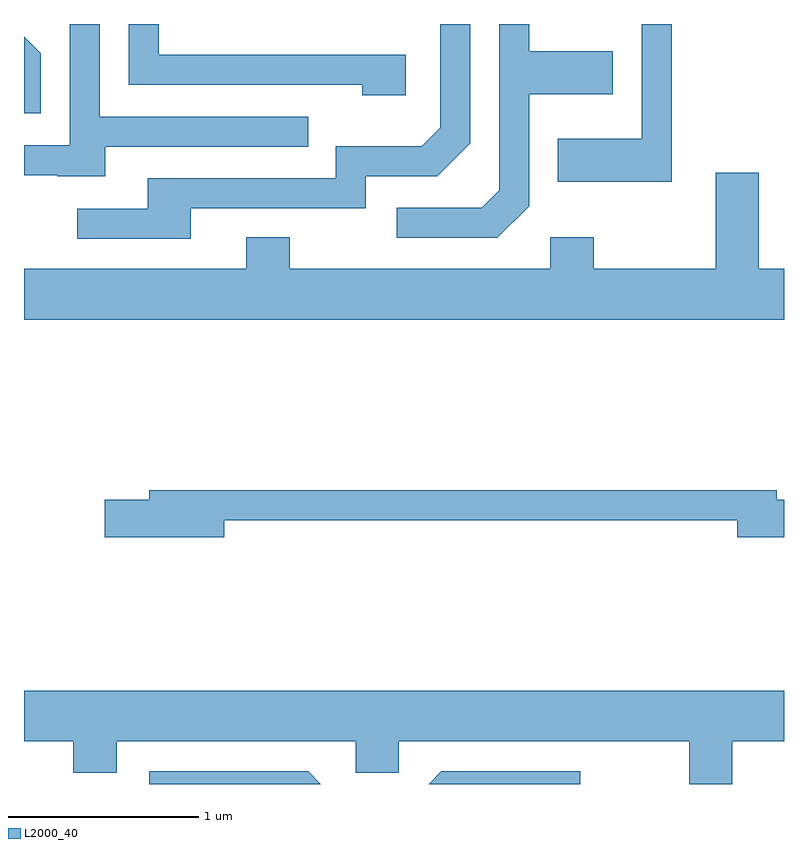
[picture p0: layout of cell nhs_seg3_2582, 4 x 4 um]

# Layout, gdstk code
import gdstk
lib = gdstk.Library(unit=1e-6, precision=1e-09)
def P(c, l, *ps):  # polygons
    for p in ps: c.add(gdstk.Polygon(p, *l))
L2000_40 = (2000, 40)

nhs_seg3_2582 = lib.new_cell('nhs_seg3_2582')
P(nhs_seg3_2582, L2000_40, [(260.039,1251.246),(261.108,1251.246),(261.108,1251.404),(260.009,1251.404),(260.009,1251.892),(259.851,1251.892),(259.851,1251.254),(259.611,1251.254),(259.611,1251.096),(259.785,1251.096),(259.785,1251.091),(260.039,1251.091)],
  [(262.269,1250.934),(262.269,1251.521),(262.709,1251.521),(262.709,1251.749),(262.269,1251.749),(262.269,1251.892),(262.111,1251.892),(262.111,1251.017),(262.019,1250.924),(261.573,1250.924),(261.573,1250.766),(262.102,1250.766)],
  [(263.019,1251.892),(262.861,1251.892),(262.861,1251.289),(262.421,1251.289),(262.421,1251.061),(263.019,1251.061)],
  [(260.489,1250.921),(261.409,1250.921),(261.409,1251.091),(261.787,1251.091),(261.959,1251.264),(261.959,1251.892),(261.801,1251.892),(261.801,1251.347),(261.704,1251.249),(261.251,1251.249),(261.251,1251.079),(260.261,1251.079),(260.261,1250.919),(259.892,1250.919),(259.892,1250.761),(260.489,1250.761)],
  [(261.619,1251.729),(260.319,1251.729),(260.319,1251.892),(260.161,1251.892),(260.161,1251.571),(261.391,1251.571),(261.391,1251.516),(261.619,1251.516)],
  [(259.699,1251.737),(259.611,1251.825),(259.611,1251.423),(259.699,1251.423)],
  [(263.611,1250.604),(263.479,1250.604),(263.479,1251.109),(263.251,1251.109),(263.251,1250.604),(262.609,1250.604),(262.609,1250.769),(262.381,1250.769),(262.381,1250.604),(261.009,1250.604),(261.009,1250.769),(260.781,1250.769),(260.781,1250.604),(259.611,1250.604),(259.611,1250.336),(263.611,1250.336)],
  [(260.664,1249.281),(263.366,1249.281),(263.366,1249.191),(263.611,1249.191),(263.611,1249.389),(263.574,1249.389),(263.574,1249.439),(260.271,1249.439),(260.271,1249.389),(260.036,1249.389),(260.036,1249.191),(260.664,1249.191)],
  [(263.339,1248.116),(263.611,1248.116),(263.611,1248.384),(259.611,1248.384),(259.611,1248.116),(259.871,1248.116),(259.871,1247.951),(260.099,1247.951),(260.099,1248.116),(261.356,1248.116),(261.356,1247.951),(261.584,1247.951),(261.584,1248.116),(263.111,1248.116),(263.111,1247.892),(263.339,1247.892)],
  [(262.539,1247.959),(261.808,1247.959),(261.741,1247.892),(262.539,1247.892)],
  [(261.106,1247.959),(260.271,1247.959),(260.271,1247.892),(261.173,1247.892)])

lib.write_gds('nhs_seg3_2582.gds')
